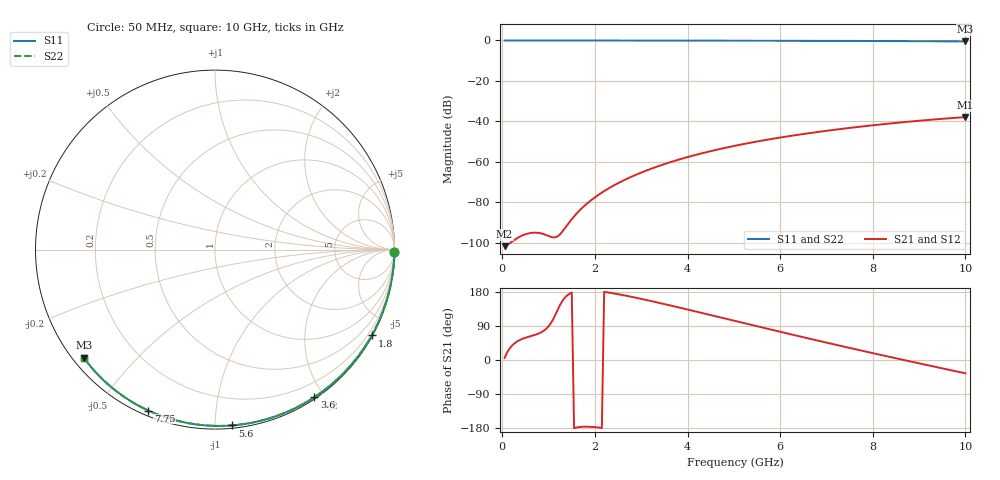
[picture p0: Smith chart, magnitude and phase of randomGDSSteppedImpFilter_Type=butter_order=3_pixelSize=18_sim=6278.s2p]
! freq	dB(S11)	phase(S11)	dB(S12)	phase(S12)
!  dB(S21)	phase(S21)	dB(S22)	phase(S22)
!S-par simulation data
#  GHz  S  DB  R 50
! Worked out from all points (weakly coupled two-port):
!   200 points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, 50 MHz to 10 GHz, reference 50 ohm
!   highest |S21| = -37.89 dB at 10 GHz (marker M1); lowest = -101.7 dB at 50 MHz (marker M2)
!   lowest |S11| = -0.5 dB at 10 GHz (marker M3), VSWR 36.73, Z = 1.54 - j17.9 ohm
!   |S11| at or under -10 dB: nowhere
!   |S22| runs from -0.5 to 0.0 dB; largest |S21 - S12| = 0
!   S11 on the Smith chart (normalised r, x): 50 MHz: open; 1.8 GHz: 0.03, -3.91; 3.6 GHz: 0.02, -1.88; 5.6 GHz: 0.02, -1.10; 7.75 GHz: 0.02, -0.67; 10 GHz: 0.03, -0.36
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0.05  -0.00 -0.8  -101.67 5.4  -101.67 5.4  -0.00 -0.8
0.45  -0.01 -7.3  -96.20 56.5  -96.20 56.5  -0.01 -7.3
0.9  -0.02 -14.5  -95.75 77.7  -95.75 77.7  -0.02 -14.5
1.75  -0.04 -27.9  -82.21 -176.1  -82.21 -176.1  -0.04 -27.9
1.8  -0.04 -28.7  -81.18 -176.0  -81.18 -176.0  -0.04 -28.7
1.85  -0.04 -29.5  -80.21 -176.0  -80.21 -176.0  -0.04 -29.5
2.2  -0.04 -34.9  -74.45 179.8  -74.45 179.8  -0.04 -34.9
2.55  -0.05 -40.3  -69.94 172.6  -69.94 172.6  -0.05 -40.3
2.95  -0.06 -46.4  -65.76 162.6  -65.76 162.6  -0.06 -46.4
3.4  -0.07 -53.1  -61.88 150.4  -61.88 150.4  -0.07 -53.1
3.6  -0.08 -56.1  -60.37 144.7  -60.37 144.7  -0.08 -56.1
3.9  -0.08 -60.5  -58.29 136.1  -58.29 136.1  -0.08 -60.5
4.3  -0.09 -66.3  -55.82 124.4  -55.82 124.4  -0.09 -66.3
5.05  -0.12 -76.8  -51.93 102.3  -51.93 102.3  -0.12 -76.8
5.6  -0.14 -84.4  -49.53 86.1  -49.53 86.1  -0.14 -84.4
6.15  -0.16 -91.8  -47.44 70.1  -47.44 70.1  -0.16 -91.8
6.7  -0.19 -99.0  -45.58 54.3  -45.58 54.3  -0.19 -99.0
7.2  -0.22 -105.5  -44.06 40.2  -44.06 40.2  -0.22 -105.5
7.75  -0.26 -112.5  -42.55 24.9  -42.55 24.9  -0.26 -112.5
8.35  -0.31 -120.0  -41.08 8.6  -41.08 8.6  -0.31 -120.0
9.15  -0.38 -129.9  -39.37 -12.9  -39.37 -12.9  -0.38 -129.9
10  -0.47 -140.5  -37.89 -35.1  -37.89 -35.1  -0.47 -140.5
